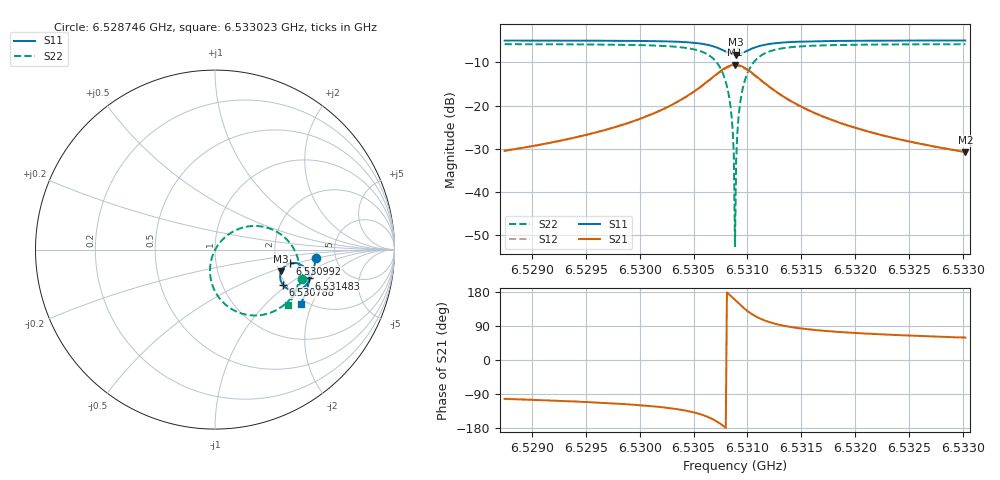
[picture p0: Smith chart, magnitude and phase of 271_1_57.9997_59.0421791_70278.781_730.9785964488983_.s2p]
#  HZ  S  RI  R  50.00
! Rohde & Schwarz Vector Network Analyzer
! Rohde-Schwarz,ZNB20-2Port,1311601062101988,3.16
! Created: UTC 3/21/2024, 1:02:22 AM
! freq[Hz]  re:S11  im:S11  re:S21  im:S21  re:S12  im:S12  re:S22  im:S22
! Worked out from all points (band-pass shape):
!   401 points, 6.528746 GHz to 6.533023 GHz, reference 50 ohm
!   highest |S21| = -10.59 dB at 6.530885 GHz (marker M1); lowest = -30.8 dB at 6.533023 GHz (marker M2)
!   |S21| within 3 dB of the highest: 6.530671 GHz to 6.531099 GHz (427.7 kHz wide, 0.00655 % of centre)
!   lowest |S11| = -8.2 dB at 6.530895 GHz (marker M3), VSWR 2.27, Z = 103 - j29.3 ohm
!   |S11| at or under -10 dB: nowhere
!   |S22| runs from -52.5 to -5.8 dB; largest |S21 - S12| = 0.011
!   S11 on the Smith chart (normalised r, x): 6.528746 GHz: 3.50, -0.47; 6.530788 GHz: 1.93, -0.92; 6.530992 GHz: 2.38, -0.45; 6.531483 GHz: 2.76, -1.26; 6.533023 GHz: 1.87, -1.65
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6.5287457e9  0.5602 -0.046  -0.00659 -0.0292  -0.00706 -0.0291  0.4841 -0.1618
6.5294622e9  0.551 -0.1053  -0.0155 -0.0416  -0.0164 -0.0414  0.4542 -0.2265
6.5301788e9  0.5243 -0.1756  -0.0478 -0.0717  -0.0498 -0.0704  0.3751 -0.316
6.5306065e9  0.456 -0.2261  -0.1517 -0.0971  -0.1539 -0.091  0.1756 -0.3629
6.5307135e9  0.4124 -0.2219  -0.2189 -0.072  -0.2183 -0.0629  0.0625 -0.3098
6.5307883e9  0.3782 -0.1961  -0.2686 -0.0156  -0.2633 -0.00616  -0.0115 -0.2066
6.5308418e9  0.3639 -0.1616  -0.2851 0.0497  -0.2763 0.0568  -0.0272 -0.0959
6.5308525e9  0.3632 -0.1535  -0.2847 0.0644  -0.2752 0.0706  -0.0239 -0.072
6.5308632e9  0.3631 -0.1454  -0.2829 0.079  -0.273 0.0845  -0.0182 -0.0482
6.5308846e9  0.3661 -0.1292  -0.2748 0.1081  -0.2645 0.1117  -5e-05 -0.00237
6.5308953e9  0.3687 -0.1213  -0.2687 0.1218  -0.2584 0.1246  0.0127 0.0191
6.530906e9  0.3723 -0.1138  -0.2612 0.1349  -0.2509 0.1367  0.0271 0.0388
6.5309167e9  0.3765 -0.1069  -0.2525 0.1471  -0.2426 0.148  0.0434 0.0571
6.5309274e9  0.3815 -0.1005  -0.243 0.1582  -0.2333 0.1582  0.0611 0.0735
6.5309487e9  0.393 -0.0898  -0.2214 0.1766  -0.2125 0.1756  0.0998 0.0999
6.5309915e9  0.4188 -0.0769  -0.1745 0.1991  -0.1678 0.1963  0.181 0.1285
6.5310557e9  0.455 -0.0757  -0.1106 0.2028  -0.1069 0.2  0.2879 0.1227
6.5311519e9  0.4913 -0.0936  -0.0484 0.1783  -0.0465 0.1766  0.3889 0.067
6.5314835e9  0.5222 -0.1605  0.0108 0.0985  0.012 0.0983  0.4708 -0.0987
6.5316011e9  0.522 -0.1774  0.0146 0.083  0.0158 0.0827  0.4716 -0.1331
6.5323176e9  0.5032 -0.2494  0.017 0.0398  0.0178 0.0396  0.4427 -0.2471
6.5330234e9  0.4764 -0.302  0.0149 0.0248  0.0155 0.0247  0.4073 -0.3073
